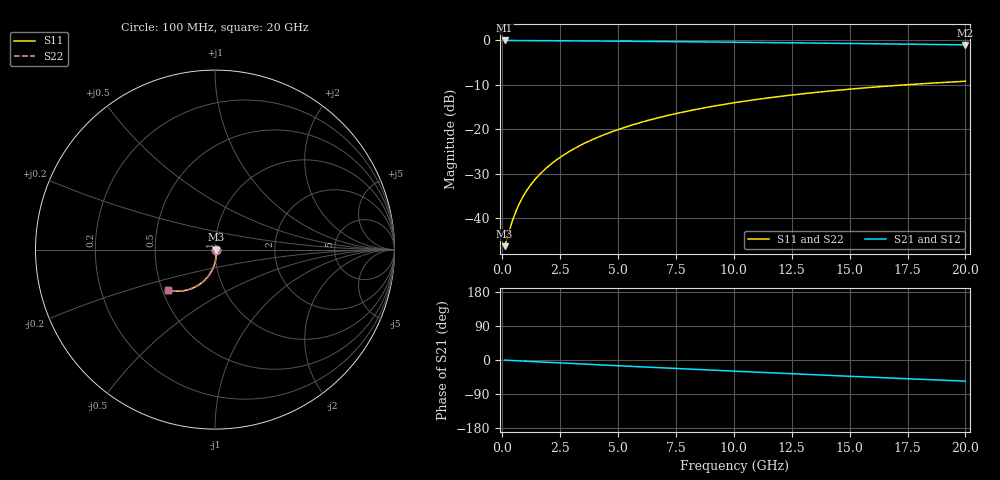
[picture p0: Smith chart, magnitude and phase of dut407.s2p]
! Touchstone file exported from HFSS 2026.1.0
!  File:  C:/ffzhzh/LocalFiles/Ansys_Project_Files/temp_train_TMRDL_407_1783005013_55676.aedt
!  Generated:  11:11:54 PM Jul  2, 2026
!  Design:  TMRDL
!  Project:  temp_train_TMRDL_407_1783005013_55676
! Variables:
!  h_bsmrdl = 2um
!  h_ox = 20um
!  h_rdl = 5um
!  h_sub = 80um
!  h_tmrdl = 5.95um
!  h_tsv = 80um
!  h_via = 3um
!  l_bsmrdl = 300um
!  l_sub = 1342.15um
!  l_tmrdl = 942.15um
!  m_sub = 200um
!  pitch = 14.31um
!  r_tsv = 6um
!  s_tmrdl = 10um
!  w_bsmrdl = 18um
!  w_sub = 500um
!  w_tmrdl = 12.51um
!  x_tsv_center1 = 948.405um
!  x_tsv_center2 = 1266.405um
!  x_tsv_center3 = 2221.065um
!  x_tsv_center4 = 2539.065um
!  x_tsv_center5 = 3493.725um
!  x_tsv_center6 = 3811.725um
# GHz S MA R 50.000000
! Terminal data exported
! Port[1] = TM_RDL1_1_T1
! Port[2] = TM_RDL1_1_T2
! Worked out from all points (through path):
!   200 points, 100 MHz to 20 GHz, reference 50 ohm
!   highest |S21| = -0.04 dB at 100 MHz (marker M1); lowest = -1.0 dB at 20 GHz (marker M2)
!   group delay of S21, straight-line fit = 7.72 ps
!   lowest |S11| = -46.3 dB at 100 MHz (marker M3), VSWR 1.01, Z = 50.5 - j0.0968 ohm
!   |S11| at or under -10 dB: start of sweep to 17.49 GHz
!   |S22| runs from -46.3 to -9.2 dB; largest |S21 - S12| = 6.2e-15
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0.1  0.004817 -11.5  0.9953 -0.4  0.9953 -0.4  0.004817 -11.5
! Gamma 0 0 0 0
! Port Impedance 50 0 50 0
0.2  0.005776 -23.1  0.9947 -0.7  0.9947 -0.7  0.005776 -23.1
0.4  0.00866 -42.3  0.9934 -1.3  0.9934 -1.3  0.00866 -42.3
0.5  0.01033 -49.2  0.993 -1.7  0.993 -1.7  0.01033 -49.2
0.7  0.01385 -59.1  0.9924 -2.3  0.9924 -2.3  0.01385 -59.1
0.8  0.01566 -62.7  0.9921 -2.6  0.9921 -2.6  0.01566 -62.6
1  0.01934 -68.1  0.9917 -3.2  0.9917 -3.2  0.01934 -68.1
1.3  0.02496 -73.6  0.991 -4.1  0.991 -4.1  0.02497 -73.5
1.7  0.03259 -78.3  0.99 -5.3  0.99 -5.3  0.03259 -78.3
2.2  0.04229 -82.4  0.9886 -6.8  0.9886 -6.8  0.0423 -82.3
2.8  0.05415 -85.9  0.9865 -8.6  0.9865 -8.6  0.05416 -85.8
3.5  0.06823 -89.1  0.9839 -10.7  0.9839 -10.7  0.06825 -89.1
4.2  0.0825 -92.0  0.981 -12.8  0.981 -12.8  0.08252 -92.0
5  0.0989 -95.0  0.9774 -15.2  0.9774 -15.2  0.09893 -95.0
5.9  0.1173 -98.2  0.9732 -17.8  0.9732 -17.8  0.1174 -98.2
6.8  0.1356 -101.3  0.9687 -20.4  0.9687 -20.4  0.1357 -101.3
8.3  0.1654 -106.3  0.9609 -24.6  0.9609 -24.6  0.1655 -106.2
10.1  0.1997 -111.9  0.9508 -29.7  0.9508 -29.7  0.1997 -111.9
11.7  0.2283 -116.7  0.9413 -34.1  0.9413 -34.1  0.2285 -116.7
13.4  0.2568 -121.7  0.9307 -38.7  0.9307 -38.7  0.257 -121.6
16.7  0.3058 -130.8  0.9095 -47.4  0.9095 -47.4  0.306 -130.7
20  0.346 -139.3  0.8885 -55.8  0.8885 -55.8  0.3463 -139.3
